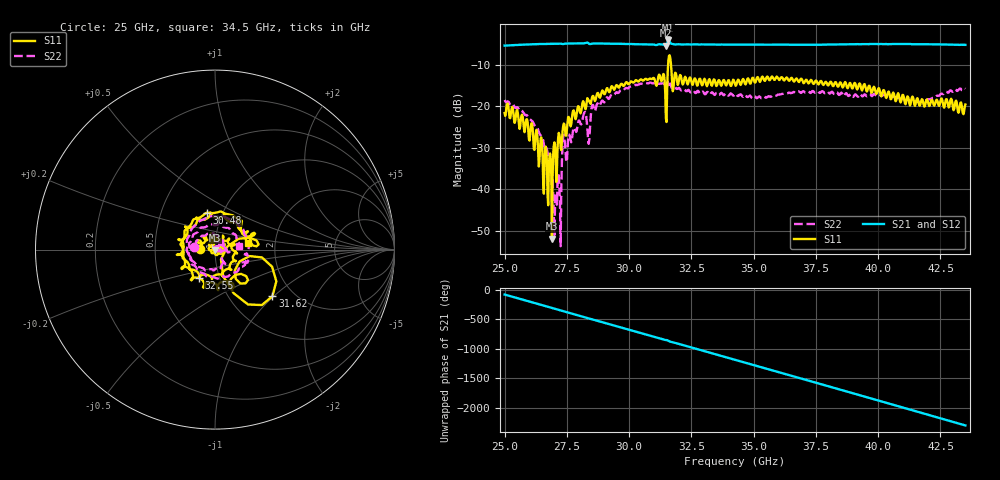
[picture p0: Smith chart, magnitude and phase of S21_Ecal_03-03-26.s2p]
!Keysight Technologies,N5224A,MY55441802,A.10.65.16
!Date: Tuesday, March 03, 2026 15:15:45
!Correction: S11(Full 2 Port(1,2))
!S21(Full 2 Port(1,2))
!S12(Full 2 Port(1,2))
!S22(Full 2 Port(1,2))
!S2P File: Measurements: S11, S21, S12, S22:
# Hz S  dB  R 50
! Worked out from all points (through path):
!   741 points, 25 GHz to 43.5 GHz, reference 50 ohm
!   highest |S21| = -4.13 dB at 31.57 GHz (marker M1); lowest = -5.4 dB at 31.48 GHz (marker M2)
!   group delay of S21, straight-line fit = 332 ps
!   lowest |S11| = -52.0 dB at 26.9 GHz (marker M3), VSWR 1.01, Z = 49.8 - j0.192 ohm
!   |S11| at or under -10 dB: start of sweep to 31.56 GHz; 31.68 GHz to end of sweep
!   |S22| runs from -53.8 to -14.2 dB; largest |S21 - S12| = 0.0082
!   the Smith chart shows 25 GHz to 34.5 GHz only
!   S11 on the Smith chart (normalised r, x): 25 GHz: 0.85, +0.01; 30.48 GHz: 0.84, +0.36; 31.62 GHz: 1.57, -0.98; 32.55 GHz: 0.80, -0.26; 34.5 GHz: 1.44, +0.11
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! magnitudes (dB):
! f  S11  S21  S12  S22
! 25 GHz  -21.7  -5.4  -5.4  -18.5
! 26.3 GHz  -26.2  -5.0  -5.0  -25.0
! 26.82 GHz  -31.4  -4.9  -4.9  -34.9
! 26.9 GHz  -52.0  -4.9  -4.9  -35.2
! 27.02 GHz  -30.1  -4.9  -4.9  -43.8
! 27.23 GHz  -28.2  -4.9  -4.9  -44.4
! 27.38 GHz  -24.2  -5.0  -5.0  -26.9
! 28.1 GHz  -20.2  -4.9  -4.9  -24.1
! 28.38 GHz  -18.8  -4.9  -4.9  -29.1
! 28.55 GHz  -17.5  -4.9  -4.8  -19.7
! 30.48 GHz  -13.5  -5.1  -5.1  -14.5
! 31.18 GHz  -12.8  -5.1  -5.1  -14.6
! 31.48 GHz  -22.9  -5.4  -5.4  -15.5
! 31.57 GHz  -9.0  -4.1  -4.1  -15.4
! 31.62 GHz  -7.7  -4.4  -4.4  -14.6
! 31.77 GHz  -15.9  -5.0  -5.0  -15.3
! 32.55 GHz  -14.8  -5.1  -5.1  -16.3
! 34.25 GHz  -14.7  -5.1  -5.1  -17.1
! 34.5 GHz  -14.6  -5.1  -5.1  -17.2
! 37.35 GHz  -14.1  -5.2  -5.2  -16.4
! 40.42 GHz  -16.5  -5.0  -5.0  -17.4
! 43.5 GHz  -19.6  -5.2  -5.2  -15.8
